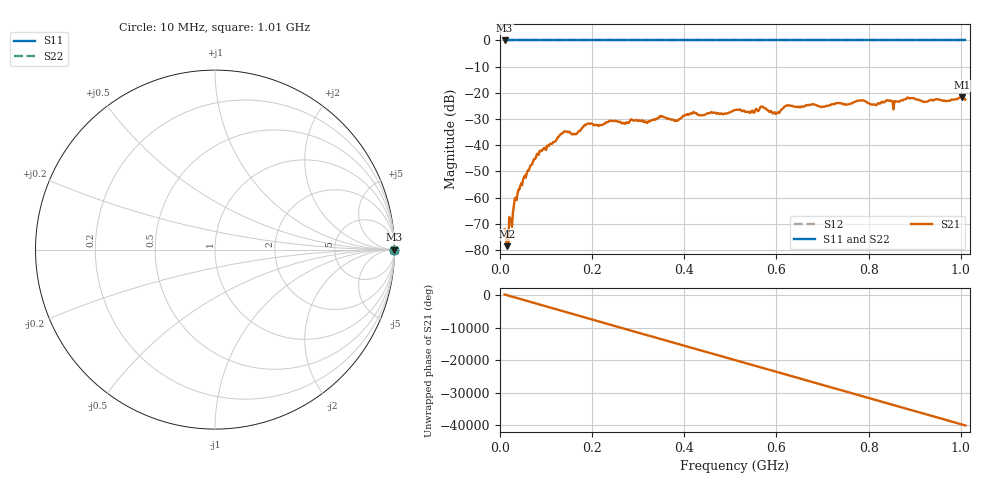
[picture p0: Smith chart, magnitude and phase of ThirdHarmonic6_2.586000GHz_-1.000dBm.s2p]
! 8/17/2025 5:30:35 AM
! C:\ANRITSUVNA\TEMP\TEMP.S2P
! CHANNEL.1
! TR.MEASUREMENT
! RAW.DATA
! RF.CORRECTION.OFF
! AVERAGING.OFF
! IF.BANDWIDTH: 5KHZ
! SWEEPTYPE:  FREQ.SWEEP(Linear)
! Reference Plane Port Info
! PORT:  PORT1  PORT2
! DISTANCE:  0  m  0  m
! TIME:  0  s  0  s
! PHASE.OFFSET:  0  deg.  0  deg.
! LOSS:  0  dB  0  dB
! REF.LOSS:  0  dB  0  dB
! REF.FREQ:  0  Hz  0  Hz
! Power Info
! POWER:  -20  dBm  -20  dBm
! EFF.POWER:  -20  dBm  -20  dBm
! SOURCE.ATTEN:  0  dB  0  dB
! TEST.ATTEN:  0  dB  0  dB
# GHZ S RI R 50.0
! FREQ.GHZ  S11RE  S11IM  S21RE  S21IM  S12RE  S12IM  S22RE  S22IM
!; PortSelection: Port_12
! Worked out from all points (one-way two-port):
!   501 points, 10 MHz to 1.01 GHz, reference 50 ohm
!   highest |S21| = -21.72 dB at 1.002 GHz (marker M1); lowest = -78.6 dB at 16 MHz (marker M2)
!   lowest |S11| = 0.0 dB at 10 MHz (marker M3)
!   |S11| at or under -10 dB: nowhere
!   |S22| runs from 0.0 to 0.0 dB; largest |S21 - S12| = 1.1
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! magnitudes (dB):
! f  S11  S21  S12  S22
! 10 MHz  0.0  -72.1  0.0  0.0
! 14 MHz  0.0  -77.2  0.0  0.0
! 16 MHz  0.0  -78.6  0.0  0.0
! 36 MHz  0.0  -61.0  0.0  0.0
! 78 MHz  0.0  -44.7  0.0  0.0
! 136 MHz  0.0  -35.4  0.0  0.0
! 162 MHz  0.0  -35.8  0.0  0.0
! 178 MHz  0.0  -33.5  0.0  0.0
! 194 MHz  0.0  -31.8  0.0  0.0
! 316 MHz  0.0  -31.0  0.0  0.0
! 344 MHz  0.0  -29.6  0.0  0.0
! 382 MHz  0.0  -30.6  0.0  0.0
! 418 MHz  0.0  -27.7  0.0  0.0
! 510 MHz  0.0  -26.6  0.0  0.0
! 548 MHz  0.0  -26.8  0.0  0.0
! 570 MHz  0.0  -25.3  0.0  0.0
! 602 MHz  0.0  -27.6  0.0  0.0
! 622 MHz  0.0  -24.8  0.0  0.0
! 678 MHz  0.0  -24.4  0.0  0.0
! 844 MHz  0.0  -23.1  0.0  0.0
! 1.002 GHz  0.0  -21.7  0.0  0.0
! 1.01 GHz  0.0  -22.6  0.0  0.0
